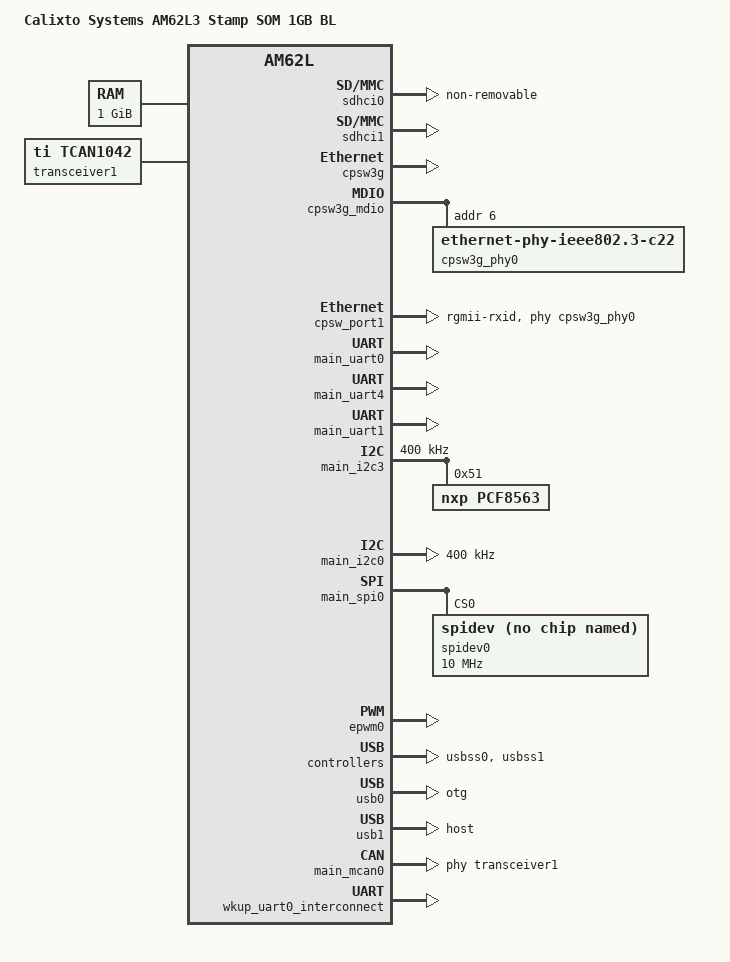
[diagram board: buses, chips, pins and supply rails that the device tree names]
// SPDX-License-Identifier: GPL-2.0-only or MIT
/*
 * Device Tree file for the AM62L31 custom board modified from the am62l3 Evaluation Module
 */

/dts-v1/;

#include <dt-bindings/gpio/gpio.h>
#include <dt-bindings/input/input.h>
#include <dt-bindings/leds/common.h>
#include <dt-bindings/net/ti-dp83867.h>
#include <dt-bindings/thermal/thermal.h>
#include "k3-am62l3.dtsi"
#include "k3-pinctrl.h"

/ {
	compatible = "Calixto,am62l-stamp-som", "ti,am62l3";
	model = "Calixto Systems AM62L3 Stamp SOM 1GB BL";

	aliases {
		mmc0 = &sdhci0;
		mmc1 = &sdhci1;
	};

	chosen {
		stdout-path = &main_uart0;
	};

	memory@80000000 {  
		reg = <0x00000000 0x80000000 0x00000000 0x40000000>; /* 1 GB */
		device_type = "memory";
		bootph-all;
	};  
	
	transceiver1: can-phy0 {
		compatible = "ti,tcan1042";
		#phy-cells = <0>;
		max-bitrate = <5000000>;
	};        	
};

&pmx0 {

	j17_exp_con_gpio_pins_default: j17_exp_con_gpio-default-pins {
		pinctrl-single,pins = <
			AM62LX_IOPAD(0x0150, PIN_OUTPUT|PIN_DRIVE_STRENGTH_NOMINAL, 7) /* (AB12) RGMII2_TX_CTL.GPIO0_67 */
			AM62LX_IOPAD(0x0100, PIN_OUTPUT|PIN_DRIVE_STRENGTH_NOMINAL, 7) /* (U22) MMC2_DAT0.GPIO0_48 */
			AM62LX_IOPAD(0x00fc, PIN_OUTPUT|PIN_DRIVE_STRENGTH_NOMINAL, 7) /* (T22) MMC2_DAT1.GPIO0_47 */
			AM62LX_IOPAD(0x00f8, PIN_OUTPUT|PIN_DRIVE_STRENGTH_NOMINAL, 7) /* (T23) MMC2_DAT2.GPIO0_46 */
			AM62LX_IOPAD(0x00f4, PIN_OUTPUT|PIN_DRIVE_STRENGTH_NOMINAL, 7) /* (R22) MMC2_DAT3.GPIO0_45 */
			AM62LX_IOPAD(0x0104, PIN_OUTPUT|PIN_DRIVE_STRENGTH_NOMINAL, 7) /* (R23) MMC2_CLK.GPIO0_49 */
			AM62LX_IOPAD(0x010c, PIN_OUTPUT|PIN_DRIVE_STRENGTH_NOMINAL, 7) /* (U23) MMC2_CMD.GPIO0_50 */
			AM62LX_IOPAD(0x0110, PIN_OUTPUT|PIN_DRIVE_STRENGTH_NOMINAL, 7) /* (T20) MMC2_SDCD.GPIO0_51 */
			AM62LX_IOPAD(0x0114, PIN_OUTPUT|PIN_DRIVE_STRENGTH_NOMINAL, 7) /* (T21) MMC2_SDWP.GPIO0_52 */
		>;
	};
	
	j19_exp_con_gpio_pins_default: j19_exp_con_gpio-default-pins {
		pinctrl-single,pins = <
			AM62LX_IOPAD(0x016c, PIN_OUTPUT|PIN_DRIVE_STRENGTH_NOMINAL, 7) /* (AC7) RGMII2_RXC.GPIO0_74 */
			AM62LX_IOPAD(0x0168, PIN_OUTPUT|PIN_DRIVE_STRENGTH_NOMINAL, 7) /* (AC8) RGMII2_RX_CTL.GPIO0_73 */
			AM62LX_IOPAD(0x0170, PIN_OUTPUT|PIN_DRIVE_STRENGTH_NOMINAL, 7) /* (AB9) RGMII2_RD0.GPIO0_75 */
			AM62LX_IOPAD(0x0174, PIN_OUTPUT|PIN_DRIVE_STRENGTH_NOMINAL, 7) /* (AC9) RGMII2_RD1.GPIO0_76 */
			AM62LX_IOPAD(0x0178, PIN_OUTPUT|PIN_DRIVE_STRENGTH_NOMINAL, 7) /* (AB10) RGMII2_RD2.GPIO0_77 */
			AM62LX_IOPAD(0x017c, PIN_OUTPUT|PIN_DRIVE_STRENGTH_NOMINAL, 7) /* (AB8) RGMII2_RD3.GPIO0_78 */
			AM62LX_IOPAD(0x0158, PIN_OUTPUT|PIN_DRIVE_STRENGTH_NOMINAL, 7) /* (AC12) RGMII2_TD0.GPIO0_69 */
			AM62LX_IOPAD(0x015c, PIN_OUTPUT|PIN_DRIVE_STRENGTH_NOMINAL, 7) /* (AB13) RGMII2_TD1.GPIO0_70 */
			AM62LX_IOPAD(0x0160, PIN_OUTPUT|PIN_DRIVE_STRENGTH_NOMINAL, 7) /* (AA12) RGMII2_TD2.GPIO0_71 */
			AM62LX_IOPAD(0x0164, PIN_OUTPUT|PIN_DRIVE_STRENGTH_NOMINAL, 7) /* (AA13) RGMII2_TD3.GPIO0_72 */
			AM62LX_IOPAD(0x0154, PIN_OUTPUT|PIN_DRIVE_STRENGTH_NOMINAL, 7) /* (Y13) RGMII2_TXC.GPIO0_68 */
		>;
	};
	j12_exp_con_gpio_pins_default: j12_exp_con_gpio-default-pins {
		pinctrl-single,pins = <
			AM62LX_IOPAD(0x0060, PIN_OUTPUT|PIN_DRIVE_STRENGTH_NOMINAL, 7) /* (G20) OSPI0_D6.GPIO0_9 */
			AM62LX_IOPAD(0x005c, PIN_OUTPUT|PIN_DRIVE_STRENGTH_NOMINAL, 7) /* (F19) OSPI0_D5.GPIO0_8 */
			AM62LX_IOPAD(0x0068, PIN_OUTPUT|PIN_DRIVE_STRENGTH_NOMINAL, 7) /* (C20) OSPI0_CSn0.GPIO0_11 */
			AM62LX_IOPAD(0x0040, PIN_OUTPUT|PIN_DRIVE_STRENGTH_NOMINAL, 7) /* (E18) OSPI0_LBCLKO.GPIO0_1 */
			AM62LX_IOPAD(0x0058, PIN_OUTPUT|PIN_DRIVE_STRENGTH_NOMINAL, 7) /* (F21) OSPI0_D4.GPIO0_7 */
			AM62LX_IOPAD(0x0064, PIN_OUTPUT|PIN_DRIVE_STRENGTH_NOMINAL, 7) /* (F20) OSPI0_D7.GPIO0_10 */
			AM62LX_IOPAD(0x006c, PIN_OUTPUT|PIN_DRIVE_STRENGTH_NOMINAL, 7) /* (D20) OSPI0_CSn1.GPIO0_12 */
			AM62LX_IOPAD(0x0070, PIN_OUTPUT|PIN_DRIVE_STRENGTH_NOMINAL, 7) /* (D18) OSPI0_CSn2.GPIO0_13 */
			AM62LX_IOPAD(0x0048, PIN_OUTPUT|PIN_DRIVE_STRENGTH_NOMINAL, 7) /* (C22) OSPI0_D0.GPIO0_3 */
			AM62LX_IOPAD(0x003c, PIN_OUTPUT|PIN_DRIVE_STRENGTH_NOMINAL, 7) /* (D22) OSPI0_CLK.GPIO0_0 */
			AM62LX_IOPAD(0x0050, PIN_OUTPUT|PIN_DRIVE_STRENGTH_NOMINAL, 7) /* (E23) OSPI0_D2.GPIO0_5 */
			AM62LX_IOPAD(0x0054, PIN_OUTPUT|PIN_DRIVE_STRENGTH_NOMINAL, 7) /* (D23) OSPI0_D3.GPIO0_6 */
			AM62LX_IOPAD(0x01e4, PIN_OUTPUT|PIN_DRIVE_STRENGTH_NOMINAL, 7) /* (D16) EXT_REFCLK1.GPIO0_104 */
			AM62LX_IOPAD(0x0074, PIN_OUTPUT|PIN_DRIVE_STRENGTH_NOMINAL, 7) /* (C23) OSPI0_CSn3.GPIO0_14 */
			AM62LX_IOPAD(0x0044, PIN_OUTPUT|PIN_DRIVE_STRENGTH_NOMINAL, 7) /* (E22) OSPI0_DQS.GPIO0_2 */
			AM62LX_IOPAD(0x004c, PIN_OUTPUT|PIN_DRIVE_STRENGTH_NOMINAL, 7) /* (D21) OSPI0_D1.GPIO0_4 */
			AM62LX_IOPAD(0x01dc, PIN_OUTPUT_PULLUP|PIN_DRIVE_STRENGTH_NOMINAL, 7) /* (B8) I2C2_SCL.GPIO0_102 */
			AM62LX_IOPAD(0x01e0, PIN_OUTPUT_PULLUP|PIN_DRIVE_STRENGTH_NOMINAL, 7) /* (D8) I2C2_SDA.GPIO0_103 */
			AM62LX_IOPAD(0x01d4, PIN_OUTPUT|PIN_DRIVE_STRENGTH_NOMINAL, 7) /* (D7) I2C1_SCL.GPIO0_100 */
			AM62LX_IOPAD(0x01d8, PIN_OUTPUT|PIN_DRIVE_STRENGTH_NOMINAL, 7) /* (A6) I2C1_SDA.GPIO0_101 */
		>;
	};
	
	rs485_pins_default: rs485-default-pins {  /* RS485 */
		pinctrl-single,pins = <
			AM62LX_IOPAD(0x0198, PIN_OUTPUT|PIN_DRIVE_STRENGTH_NOMINAL, 2) /* (C11) MCASP0_AFSR.UART1_RXD */
			AM62LX_IOPAD(0x019c, PIN_OUTPUT|PIN_DRIVE_STRENGTH_NOMINAL, 2) /* (A12) MCASP0_ACLKR.UART1_TXD */
			AM62LX_IOPAD(0x0190, PIN_INPUT|PIN_DRIVE_STRENGTH_NOMINAL, 7) /* (A11) MCASP0_ACLKX.GPIO0_83 */
		>;
	};
	
	main_can0_pins_default: main_can0-default-pins { /* CAN0 */
		pinctrl-single,pins = <
			AM62LX_IOPAD(0x01c8, PIN_INPUT|PIN_DRIVE_STRENGTH_NOMINAL, 0) /* (B15) MCAN0_RX */
			AM62LX_IOPAD(0x01c4, PIN_OUTPUT|PIN_DRIVE_STRENGTH_NOMINAL, 0) /* (B16) MCAN0_TX */
		>;
	};
	
	mikrobus_epwm0_pins_default: mikrobus_epwm0-default-pins {
		pinctrl-single,pins = <
			AM62LX_IOPAD(0x01a4, PIN_INPUT|PIN_DRIVE_STRENGTH_NOMINAL, 2) /* (D11) SPI0_CS1.EHRPWM0_B */
		>;
	};
	mikrobus_gpio0_pins_default: mikrobus_gpio0-default-pins {
		pinctrl-single,pins = <
			AM62LX_IOPAD(0x018c, PIN_INPUT|PIN_DRIVE_STRENGTH_NOMINAL, 7) /* (B9) MCASP0_AXR0.GPIO0_82 */
			AM62LX_IOPAD(0x0238, PIN_INPUT|PIN_DRIVE_STRENGTH_NOMINAL, 7) /* (D6) MMC1_SDWP.GPIO0_123 */
		>;
	};
	mikrobus_i2c0_pins_default: mikrobus_i2c0-default-pins {
		pinctrl-single,pins = <
			AM62LX_IOPAD(0x01cc, PIN_INPUT|PIN_DRIVE_STRENGTH_NOMINAL, 0) /* (B7) I2C0_SCL */
			AM62LX_IOPAD(0x01d0, PIN_INPUT|PIN_DRIVE_STRENGTH_NOMINAL, 0) /* (A7) I2C0_SDA */
		>;
	};
	mikrobus_spi0_pins_default: mikrobus_spi0-default-pins {
		pinctrl-single,pins = <
			AM62LX_IOPAD(0x01a8, PIN_INPUT|PIN_DRIVE_STRENGTH_NOMINAL, 0) /* (E13) SPI0_CLK */
			AM62LX_IOPAD(0x01a0, PIN_INPUT|PIN_DRIVE_STRENGTH_NOMINAL, 0) /* (E11) SPI0_CS0 */
			AM62LX_IOPAD(0x01ac, PIN_INPUT|PIN_DRIVE_STRENGTH_NOMINAL, 0) /* (E12) SPI0_D0 */
			AM62LX_IOPAD(0x01b0, PIN_INPUT|PIN_DRIVE_STRENGTH_NOMINAL, 0) /* (B12) SPI0_D1 */
		>;
	};
	mikrobus_uart4_pins_default: mikrobus_uart4-default-pins {
		pinctrl-single,pins = <
			AM62LX_IOPAD(0x00ec, PIN_INPUT|PIN_DRIVE_STRENGTH_NOMINAL, 3) /* (M23) GPMC0_CSn2.UART4_RXD */
			AM62LX_IOPAD(0x00f0, PIN_OUTPUT|PIN_DRIVE_STRENGTH_NOMINAL, 3) /* (M22) GPMC0_CSn3.UART4_TXD */
		>;
	};
	
	i2c3_pins_default: i2c3-default-pins {
            pinctrl-single,pins = <
                    AM62LX_IOPAD(0x01bc, PIN_INPUT|PIN_DRIVE_STRENGTH_NOMINAL, 2) /* (B14) UART0_CTSn.I2C3_SCL */
                    AM62LX_IOPAD(0x01c0, PIN_INPUT|PIN_DRIVE_STRENGTH_NOMINAL, 2) /* (B13) UART0_RTSn.I2C3_SDA */
            >;
        };


	mmc0_pins_default: mmc0-default-pins {
		pinctrl-single,pins = <
			AM62LX_IOPAD(0x0214, PIN_INPUT, 0) /* (D2) MMC0_CMD */
			AM62LX_IOPAD(0x020c, PIN_OUTPUT, 0) /* (B2) MMC0_CLK */
			AM62LX_IOPAD(0x0208, PIN_INPUT, 0) /* (D3) MMC0_DAT0 */
			AM62LX_IOPAD(0x0204, PIN_INPUT_PULLUP, 0) /* (D4) MMC0_DAT1 */
			AM62LX_IOPAD(0x0200, PIN_INPUT_PULLUP, 0) /* (C1) MMC0_DAT2 */
			AM62LX_IOPAD(0x01fc, PIN_INPUT_PULLUP, 0) /* (C2) MMC0_DAT3 */
			AM62LX_IOPAD(0x01f8, PIN_INPUT_PULLUP, 0) /* (C4) MMC0_DAT4 */
			AM62LX_IOPAD(0x01f4, PIN_INPUT_PULLUP, 0) /* (B3) MMC0_DAT5 */
			AM62LX_IOPAD(0x01f0, PIN_INPUT_PULLUP, 0) /* (A3) MMC0_DAT6 */
			AM62LX_IOPAD(0x01ec, PIN_INPUT_PULLUP, 0) /* (B4) MMC0_DAT7 */
		>;
		bootph-all;
	};

	mmc1_pins_default: mmc1-default-pins {
		pinctrl-single,pins = <
			AM62LX_IOPAD(0x0230, PIN_INPUT, 0) /* (Y3) MMC1_CMD */
			AM62LX_IOPAD(0x0228, PIN_OUTPUT, 0) /* (Y2) MMC1_CLK */
			AM62LX_IOPAD(0x0224, PIN_INPUT, 0) /* (AA1) MMC1_DAT0 */
			AM62LX_IOPAD(0x0220, PIN_INPUT, 0) /* (Y4) MMC1_DAT1 */
			AM62LX_IOPAD(0x021c, PIN_INPUT, 0) /* (AA2) MMC1_DAT2 */
			AM62LX_IOPAD(0x0218, PIN_INPUT, 0) /* (AB2) MMC1_DAT3 */
			AM62LX_IOPAD(0x0234, PIN_INPUT, 0) /* (B6) MMC1_SDCD */
		>;
		bootph-all;
	};

	dpi_pins_default: dpi-default-pins {
		pinctrl-single,pins = <
			AM62LX_IOPAD(0x00e4, PIN_OUTPUT, 1) /* (L20) GPMC0_CSn0.VOUT0_VSYNC */
			AM62LX_IOPAD(0x00dc, PIN_OUTPUT, 1) /* (N21) GPMC0_WPn.VOUT0_HSYNC */
			AM62LX_IOPAD(0x00e8, PIN_OUTPUT, 1) /* (L19) GPMC0_CSn1.VOUT0_PCLK */
			AM62LX_IOPAD(0x00e0, PIN_OUTPUT, 1) /* (M21) GPMC0_DIR.VOUT0_DE */
			AM62LX_IOPAD(0x0078, PIN_OUTPUT, 1) /* (L22) GPMC0_AD0.VOUT0_DATA0 */
			AM62LX_IOPAD(0x007c, PIN_OUTPUT, 1) /* (L23) GPMC0_AD1.VOUT0_DATA1 */
			AM62LX_IOPAD(0x0080, PIN_OUTPUT, 1) /* (K22) GPMC0_AD2.VOUT0_DATA2 */
			AM62LX_IOPAD(0x0084, PIN_OUTPUT, 1) /* (J23) GPMC0_AD3.VOUT0_DATA3 */
			AM62LX_IOPAD(0x0088, PIN_OUTPUT, 1) /* (K23) GPMC0_AD4.VOUT0_DATA4 */
			AM62LX_IOPAD(0x008c, PIN_OUTPUT, 1) /* (H22) GPMC0_AD5.VOUT0_DATA5 */
			AM62LX_IOPAD(0x0090, PIN_OUTPUT, 1) /* (H23) GPMC0_AD6.VOUT0_DATA6 */
			AM62LX_IOPAD(0x0094, PIN_OUTPUT, 1) /* (J22) GPMC0_AD7.VOUT0_DATA7 */
			AM62LX_IOPAD(0x0098, PIN_OUTPUT, 1) /* (H19) GPMC0_AD8.VOUT0_DATA8 */
			AM62LX_IOPAD(0x009c, PIN_OUTPUT, 1) /* (H20) GPMC0_AD9.VOUT0_DATA9 */
			AM62LX_IOPAD(0x00a0, PIN_OUTPUT, 1) /* (H21) GPMC0_AD10.VOUT0_DATA10 */
			AM62LX_IOPAD(0x00a4, PIN_OUTPUT, 1) /* (H18) GPMC0_AD11.VOUT0_DATA11 */
			AM62LX_IOPAD(0x00a8, PIN_OUTPUT, 1) /* (G23) GPMC0_AD12.VOUT0_DATA12 */
			AM62LX_IOPAD(0x00ac, PIN_OUTPUT, 1) /* (G22) GPMC0_AD13.VOUT0_DATA13 */
			AM62LX_IOPAD(0x00b0, PIN_OUTPUT, 1) /* (F22) GPMC0_AD14.VOUT0_DATA14 */
			AM62LX_IOPAD(0x00b4, PIN_OUTPUT, 1) /* (F23) GPMC0_AD15.VOUT0_DATA15 */
			AM62LX_IOPAD(0x00b8, PIN_OUTPUT, 1) /* (L21) GPMC0_CLK.VOUT0_DATA16 */
			AM62LX_IOPAD(0x00c0, PIN_OUTPUT, 1) /* (N19) GPMC0_ADVn_ALE.VOUT0_DATA17 */
			AM62LX_IOPAD(0x00c4, PIN_OUTPUT, 1) /* (N20) GPMC0_OEn_REn.VOUT0_DATA18 */
			AM62LX_IOPAD(0x00c8, PIN_OUTPUT, 1) /* (M19) GPMC0_WEn.VOUT0_DATA19 */
			AM62LX_IOPAD(0x00cc, PIN_OUTPUT, 1) /* (P23) GPMC0_BE0n_CLE.VOUT0_DATA20 */
			AM62LX_IOPAD(0x00d0, PIN_OUTPUT, 1) /* (P22) GPMC0_BE1n.VOUT0_DATA21 */
			AM62LX_IOPAD(0x00d4, PIN_OUTPUT, 1) /* (N23) GPMC0_WAIT0.VOUT0_DATA22 */
			AM62LX_IOPAD(0x00d8, PIN_OUTPUT, 1) /* (N22) GPMC0_WAIT1.VOUT0_DATA23 */
		>;
		bootph-all;
	};

	rgmii1_pins_default: rgmii1-default-pins {
		pinctrl-single,pins = <
			AM62LX_IOPAD(0x0138, PIN_INPUT, 0) /* (Y8) RGMII1_RD0 */
			AM62LX_IOPAD(0x013c, PIN_INPUT, 0) /* (AA6) RGMII1_RD1 */
			AM62LX_IOPAD(0x0140, PIN_INPUT, 0) /* (AA8) RGMII1_RD2 */
			AM62LX_IOPAD(0x0144, PIN_INPUT, 0) /* (W8) RGMII1_RD3 */
			AM62LX_IOPAD(0x0134, PIN_INPUT, 0) /* (Y7) RGMII1_RXC */
			AM62LX_IOPAD(0x0130, PIN_INPUT, 0) /* (Y6) RGMII1_RX_CTL */
			AM62LX_IOPAD(0x0120, PIN_OUTPUT, 0) /* (AC10) RGMII1_TD0 */
			AM62LX_IOPAD(0x0124, PIN_OUTPUT, 0) /* (W13) RGMII1_TD1 */
			AM62LX_IOPAD(0x0128, PIN_OUTPUT, 0) /* (Y11) RGMII1_TD2 */
			AM62LX_IOPAD(0x012c, PIN_OUTPUT, 0) /* (AA11) RGMII1_TD3 */
			AM62LX_IOPAD(0x011c, PIN_OUTPUT, 0) /* (W11) RGMII1_TXC */
			AM62LX_IOPAD(0x0118, PIN_OUTPUT, 0) /* (AB11) RGMII1_TX_CTL */
		>;
	};

	mdio1_pins_default: mdio1-default-pins {
		pinctrl-single,pins = <
			AM62LX_IOPAD(0x014c, PIN_OUTPUT, 0) /* (AC15) MDIO0_MDC */
			AM62LX_IOPAD(0x0148, PIN_INPUT, 0) /* (AC13) MDIO0_MDIO */
		>;
	};

	uart0_pins_default: uart0-default-pins {
		pinctrl-single,pins = <
			AM62LX_IOPAD(0x01b4, PIN_INPUT, 0) /* (D13) UART0_RXD */
			AM62LX_IOPAD(0x01b8, PIN_OUTPUT, 0) /* (C13) UART0_TXD */
		>;
		bootph-all;
	};

	uart0_pins_wakeup: uart0-wakeup-pins {
		pinctrl-single,pins = <
			AM62LX_IOPAD(0x01b4, PIN_INPUT | PIN_WKUP_EN, 0) /* (D13) UART0_RXD */
			AM62LX_IOPAD(0x01b8, PIN_OUTPUT, 0) /* (C13) UART0_TXD */
		>;
	};
	

	usb1_default_pins: usb1-default-pins {
		pinctrl-single,pins = <
			AM62LX_IOPAD(0x0248, PIN_INPUT | PIN_DS_PULLUD_ENABLE | PIN_DS_PULL_UP, 0) /* (A5) USB1_DRVVBUS */
		>;
	};
	
	myusb0_pins_default: myusb0-default-pins {
        	pinctrl-single,pins = <
            		AM62LX_IOPAD(0x0244, PIN_OUTPUT|PIN_DRIVE_STRENGTH_NOMINAL, 0) /* (C6) USB0_DRVVBUS */
        	>;
    	};
    	
    	myusb0_id_pins_default: myusb0-id-default-pins {
        	pinctrl-single,pins = <
            		AM62LX_IOPAD(0x0184, PIN_INPUT|PIN_DRIVE_STRENGTH_NOMINAL, 7) /* (B10) MCASP0_AXR2.GPIO0_80 */ /* CONNECTOR ID PIN */
        	>;
    	};
    	
	wkup_uart0_pins_default: wkup-uart0-default-pins {
		pinctrl-single,pins = <
			AM62LX_IOPAD(0x0000, PIN_INPUT, 0) /* (Y22) WKUP_UART0_RXD */
			AM62LX_IOPAD(0x0004, PIN_OUTPUT, 0) /* (AA23) WKUP_UART0_TXD */
		>;
	};
};

&main_gpio0 {
    	bootph-all;
    	status = "okay";
    	pinctrl-names = "default";
    	pinctrl-0 = <&j17_exp_con_gpio_pins_default  /* Expansion Connector J17 pins muxed as GPIO */
    		     &j19_exp_con_gpio_pins_default  /* Expansion Connector J19 pins muxed as GPIO */
    		     &j12_exp_con_gpio_pins_default  /* Expansion Connector J12 pins muxed as GPIO */
    		     &mikrobus_gpio0_pins_default>;	     /* Mikrobus gpio pins RST INT */   		 
};

&sdhci0 {
	/* eMMC */
	pinctrl-names = "default";
	pinctrl-0 = <&mmc0_pins_default>;
	non-removable;
	status = "okay";
	bootph-all;
};

&sdhci1 {
	/* SD/MMC */
	pinctrl-names = "default";
	pinctrl-0 = <&mmc1_pins_default>;
	/* UHS -> HS */
	/delete-property/ ti,otap-del-sel-sdr12;
    	/delete-property/ ti,otap-del-sel-sdr25;
    	/delete-property/ ti,otap-del-sel-sdr50;
    	/delete-property/ ti,otap-del-sel-ddr50;
    	/delete-property/ ti,otap-del-sel-sdr104;
    	no-1-8-v;
	disable-wp;
	status = "okay";
	bootph-all;
};

&main_pktdma {
	bootph-all;
};

&cpsw3g {
    pinctrl-names = "default";
    pinctrl-0 = <&rgmii1_pins_default>;
    status = "okay";
};

&cpsw3g_mdio {
        status = "okay";
	pinctrl-names = "default";
	pinctrl-0 = <&mdio1_pins_default>;
	
	cpsw3g_phy0: ethernet-phy@6 {
		compatible = "ethernet-phy-ieee802.3-c22";
		reg = <6>;
	};
};

&cpsw_port1 {
	phy-mode = "rgmii-rxid";
	phy-handle = <&cpsw3g_phy0>;
	status = "okay";
};

/* port 2 not in use */
/delete-node/ &cpsw_port2;

&main_uart0 {
	pinctrl-0 = <&uart0_pins_default>;
	pinctrl-1 = <&uart0_pins_wakeup>;
	pinctrl-names = "default", "wakeup";
	wakeup-source;
	status = "okay";
	bootph-all;
};

&main_uart4 {
	pinctrl-0 = <&mikrobus_uart4_pins_default>; /* Mikrobus UART4 */
	pinctrl-names = "default";
	status = "okay";
	bootph-all;
};

&main_uart1 {
	pinctrl-0 = <&rs485_pins_default>; /* RS485 */
	pinctrl-names = "default";
	status = "okay";
	bootph-all;
};

&main_i2c3 {
        status = "okay";
        pinctrl-names = "default";
        pinctrl-0 = <&i2c3_pins_default>;
        clock-frequency = <400000>;
    
            pcf8563@51 { /* External RTC */
            compatible = "nxp,pcf8563";
            reg = <0x51>;
        };
    
};

&main_i2c0 {
        status = "okay";
        pinctrl-names = "default";
        pinctrl-0 = <&mikrobus_i2c0_pins_default>; /* Mikrobus i2c0 */
        clock-frequency = <400000>; 
};

&main_spi0{
	status = "okay";
	#address-cells = <1>;
        #size-cells = <0>;
        pinctrl-names = "default";
        pinctrl-0 = <&mikrobus_spi0_pins_default>; /* Mikrobus spi0 */
        
        spidev0: spi_device@0 {
		compatible = "rohm,dh2228fv";
		reg = <0>;
		spi-max-frequency = <10000000>;
	};

};

&epwm0 {
    status = "okay";
    pinctrl-names = "default";
    pinctrl-0 = <&mikrobus_epwm0_pins_default>; /* Mikrobus epwm0 */
};

&usbss0 {
	status = "okay";
	ti,vbus-divider;
};

&usb0 {
	bootph-all;
	/* dr_mode = "host"; */
	dr_mode = "otg";
	pinctrl-names = "default";	
	pinctrl-0 = <&myusb0_pins_default>;
};

&usbss1 {
	status = "okay";
	ti,vbus-divider;
};

&usb1 {
	dr_mode = "host";
	pinctrl-names = "default";
	pinctrl-0 = <&usb1_default_pins>;
};

&main_mcan0 {
	pinctrl-names = "default";
	pinctrl-0 = <&main_can0_pins_default>;
	phys = <&transceiver1>;
	status = "okay";
};

&wkup_uart0 {
	pinctrl-0 = <&wkup_uart0_pins_default>;
	pinctrl-names = "default";
};

&wkup_uart0_interconnect {
	status = "okay";
};
